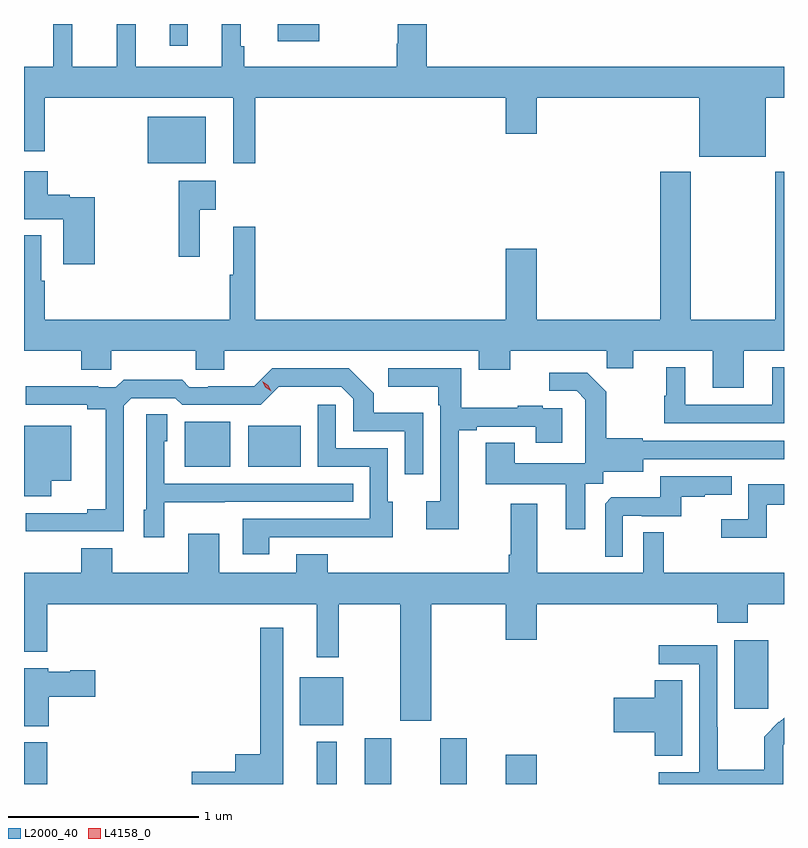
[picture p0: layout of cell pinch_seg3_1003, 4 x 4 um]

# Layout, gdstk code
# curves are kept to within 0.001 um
import gdstk
lib = gdstk.Library(unit=1e-6, precision=1e-09)
def R(c, l, rs):  # rectangles x0, y0, x1, y1
    for r in rs: c.add(gdstk.rectangle(r[:2], r[2:], *l))
def P(c, l, *ps):  # polygons
    for p in ps: c.add(gdstk.Polygon(p, *l))
L2000_40 = (2000, 40)
L4158_0 = (4158, 0)

pinch_seg3_1003 = lib.new_cell('pinch_seg3_1003')
R(pinch_seg3_1003, L2000_40, [(402.233,666.669,402.356,666.889), (403.775,666.669,403.879,666.892), (404.027,666.669,404.167,666.91), (404.423,666.669,404.563,666.91), (404.768,666.669,404.932,666.823), (403.685,666.977,403.912,667.231), (405.971,667.065,406.15,667.426), (403.079,668.339,403.318,668.575), (403.412,668.339,403.69,668.554), (402.884,669.935,403.189,670.18), (402.999,670.554,403.096,670.669), (403.568,670.577,403.786,670.669)])
P(pinch_seg3_1003, L2000_40, [(403.451,670.28),(404.768,670.28),(404.768,670.092),(404.932,670.092),(404.932,670.28),(405.788,670.28),(405.788,669.971),(406.138,669.971),(406.138,670.28),(406.233,670.28),(406.233,670.444),(404.354,670.444),(404.354,670.669),(404.201,670.669),(404.201,670.565),(404.194,670.565),(404.194,670.444),(403.391,670.444),(403.391,670.553),(403.373,670.553),(403.373,670.669),(403.274,670.669),(403.274,670.444),(402.821,670.444),(402.821,670.669),(402.721,670.669),(402.721,670.444),(402.486,670.444),(402.486,670.669),(402.386,670.669),(402.386,670.444),(402.233,670.444),(402.233,669.999),(402.343,669.999),(402.343,670.28),(403.334,670.28),(403.334,669.936),(403.451,669.936)],
  [(402.606,669.757),(402.474,669.757),(402.474,669.77),(402.358,669.77),(402.358,669.895),(402.233,669.895),(402.233,669.641),(402.44,669.641),(402.44,669.405),(402.606,669.405)],
  [(406.021,668.948),(406.233,668.948),(406.233,669.892),(406.186,669.892),(406.186,669.112),(405.741,669.112),(405.741,669.892),(405.581,669.892),(405.581,669.112),(404.932,669.112),(404.932,669.487),(404.768,669.487),(404.768,669.112),(403.451,669.112),(403.451,669.601),(403.334,669.601),(403.334,669.348),(403.315,669.348),(403.315,669.112),(402.343,669.112),(402.343,669.317),(402.325,669.317),(402.325,669.556),(402.233,669.556),(402.233,668.948),(402.533,668.948),(402.533,668.85),(402.693,668.85),(402.693,668.948),(403.138,668.948),(403.138,668.85),(403.288,668.85),(403.288,668.948),(404.627,668.948),(404.627,668.849),(404.791,668.849),(404.791,668.948),(405.301,668.948),(405.301,668.858),(405.439,668.858),(405.439,668.948),(405.857,668.948),(405.857,668.754),(406.021,668.754)],
  [(403.157,669.692),(403.243,669.692),(403.243,669.844),(403.047,669.844),(403.047,669.444),(403.157,669.444)],
  [(406.233,668.863),(406.172,668.863),(406.172,668.664),(405.712,668.664),(405.712,668.863),(405.614,668.863),(405.614,668.712),(405.603,668.712),(405.603,668.568),(406.233,668.568)],
  [(402.759,668.661),(402.798,668.7),(403.029,668.7),(403.065,668.664),(403.479,668.664),(403.574,668.759),(403.902,668.76),(403.965,668.697),(403.965,668.526),(404.238,668.526),(404.238,668.298),(404.334,668.298),(404.334,668.623),(404.073,668.623),(404.073,668.726),(403.942,668.856),(403.539,668.856),(403.445,668.762),(403.204,668.762),(403.204,668.757),(403.104,668.757),(403.065,668.797),(402.757,668.797),(402.717,668.757),(402.623,668.757),(402.623,668.762),(402.243,668.762),(402.243,668.664),(402.566,668.664),(402.566,668.642),(402.662,668.642),(402.662,668.114),(402.566,668.114),(402.566,668.094),(402.243,668.094),(402.243,667.998),(402.759,667.998)],
  [(404.521,668.532),(404.617,668.532),(404.617,668.55),(404.927,668.55),(404.927,668.466),(405.067,668.466),(405.067,668.646),(404.963,668.646),(404.963,668.659),(404.831,668.659),(404.831,668.648),(404.533,668.648),(404.533,668.856),(404.151,668.856),(404.151,668.759),(404.412,668.759),(404.412,668.663),(404.424,668.663),(404.424,668.158),(404.349,668.158),(404.349,668.01),(404.521,668.01)],
  [(405.187,668.248),(405.282,668.248),(405.282,668.312),(405.493,668.312),(405.493,668.379),(406.233,668.378),(406.233,668.475),(405.489,668.475),(405.489,668.488),(405.297,668.488),(405.297,668.733),(405.197,668.833),(404.997,668.833),(404.997,668.739),(405.141,668.739),(405.188,668.692),(405.188,668.597),(405.186,668.597),(405.186,668.356),(404.815,668.356),(404.815,668.465),(404.663,668.465),(404.663,668.246),(405.083,668.246),(405.083,668.01),(405.187,668.01)],
  [(403.525,667.968),(403.955,667.968),(403.955,667.967),(404.173,667.967),(404.173,668.154),(404.148,668.154),(404.148,668.436),(403.875,668.436),(403.875,668.665),(403.779,668.665),(403.779,668.34),(404.052,668.34),(404.052,668.064),(403.385,668.064),(403.385,667.878),(403.525,667.878)],
  [(402.972,668.153),(403.289,668.153),(403.289,668.154),(403.967,668.154),(403.967,668.25),(402.972,668.25),(402.972,668.472),(402.988,668.472),(402.988,668.615),(402.876,668.615),(402.876,668.112),(402.863,668.112),(402.863,667.968),(402.972,667.968)],
  [(402.376,668.264),(402.481,668.264),(402.481,668.554),(402.233,668.554),(402.233,668.184),(402.376,668.184)],
  [(405.384,668.082),(405.484,668.082),(405.484,668.079),(405.692,668.079),(405.692,668.181),(405.815,668.181),(405.815,668.192),(405.959,668.192),(405.959,668.289),(405.582,668.289),(405.582,668.177),(405.323,668.177),(405.291,668.145),(405.291,667.865),(405.384,667.865)],
  [(406.143,668.139),(406.233,668.139),(406.233,668.247),(406.044,668.247),(406.044,668.062),(405.903,668.062),(405.903,667.964),(406.143,667.964)],
  [(404.932,667.616),(405.881,667.616),(405.881,667.517),(406.041,667.517),(406.041,667.616),(406.233,667.616),(406.233,667.78),(405.601,667.78),(405.601,667.994),(405.492,667.994),(405.492,667.78),(404.935,667.78),(404.935,668.143),(404.795,668.143),(404.795,667.876),(404.783,667.876),(404.783,667.78),(403.831,667.78),(403.831,667.879),(403.667,667.879),(403.667,667.78),(403.261,667.78),(403.261,667.987),(403.097,667.987),(403.097,667.78),(402.697,667.78),(402.697,667.909),(402.533,667.909),(402.533,667.78),(402.233,667.78),(402.233,667.364),(402.356,667.364),(402.356,667.616),(403.775,667.616),(403.775,667.335),(403.889,667.335),(403.889,667.616),(404.213,667.616),(404.213,667.002),(404.377,667.002),(404.377,667.616),(404.768,667.616),(404.768,667.428),(404.932,667.428)],
  [(403.597,667.492),(403.476,667.492),(403.476,666.826),(403.346,666.826),(403.346,666.734),(403.116,666.734),(403.116,666.669),(403.597,666.669)],
  [(406.23,666.777),(406.228,666.777),(406.228,666.874),(406.233,666.879),(406.233,667.017),(406.209,666.993),(406.206,666.996),(406.129,666.919),(406.129,666.745),(405.885,666.745),(405.885,666.968),(405.882,666.968),(405.882,667.398),(405.573,667.398),(405.573,667.299),(405.786,667.299),(405.786,666.732),(405.573,666.732),(405.573,666.669),(406.23,666.669)],
  [(402.364,667.127),(402.607,667.127),(402.607,667.269),(402.477,667.269),(402.477,667.261),(402.36,667.261),(402.36,667.279),(402.233,667.279),(402.233,666.974),(402.364,666.974)],
  [(405.697,667.214),(405.554,667.214),(405.554,667.124),(405.336,667.124),(405.336,666.941),(405.554,666.941),(405.554,666.817),(405.697,666.817)])
P(pinch_seg3_1003, L4158_0, [(403.533,668.735),(403.503,668.756),(403.487,668.79),(403.487,668.79),(403.487,668.79),(403.518,668.769),(403.534,668.735),(403.534,668.735)])

lib.write_gds('pinch_seg3_1003.gds')
